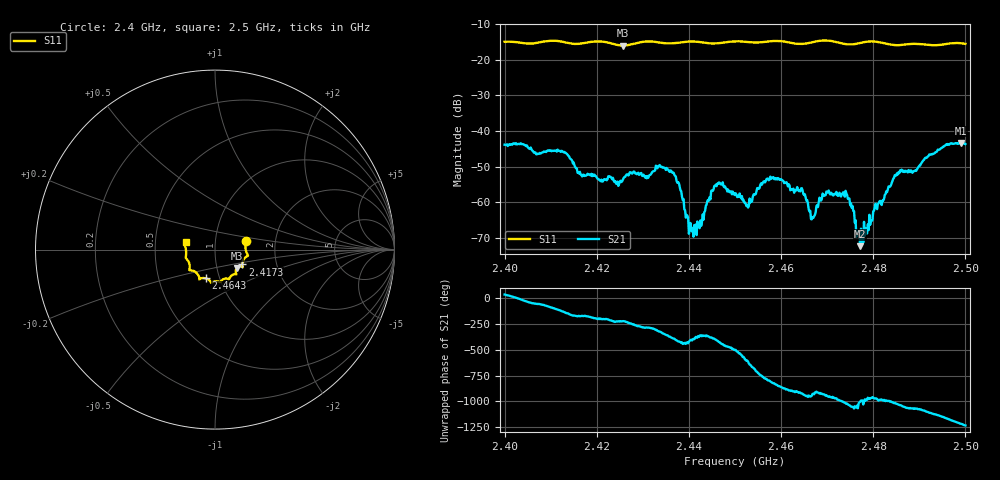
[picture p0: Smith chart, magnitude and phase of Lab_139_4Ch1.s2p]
# Hz S RI R 50
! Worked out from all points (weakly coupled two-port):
!   601 points, 2.4 GHz to 2.5 GHz, reference 50 ohm
!   highest |S21| = -43.38 dB at 2.499 GHz (marker M1); lowest = -72.4 dB at 2.4772 GHz (marker M2)
!   lowest |S11| = -15.9 dB at 2.4257 GHz (marker M3), VSWR 1.38, Z = 62.4 - j13.1 ohm
!   |S11| at or under -10 dB: start of sweep to end of sweep
!   S12 and S22 are empty: the file has one direction only
!   S11 on the Smith chart (normalised r, x): 2.4 GHz: 1.41, +0.14; 2.4173 GHz: 1.34, -0.23; 2.4643 GHz: 0.86, -0.28; 2.5 GHz: 0.72, +0.06
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2.4e9  0.1735 0.0493  0.0053 0.00362  0 0  0 0
2.412833e9  0.175 -0.0395  -0.00344 -0.00364  0 0  0 0
2.416667e9  0.153 -0.0751  -0.00238 -0.000293  0 0  0 0
2.417333e9  0.1524 -0.0824  -0.0023 -0.000322  0 0  0 0
2.425667e9  0.1224 -0.1023  -0.0015 0.00141  0 0  0 0
2.433333e9  0.1126 -0.1365  0.00243 0.00209  0 0  0 0
2.437167e9  0.0867 -0.1501  0.00159 -0.00162  0 0  0 0
2.4405e9  0.079 -0.1641  0.000291 -0.000272  0 0  0 0
2.442667e9  0.0714 -0.1623  0.000456 -7.62e-05  0 0  0 0
2.446e9  0.0472 -0.1648  0.00111 -0.00124  0 0  0 0
2.45e9  0.0297 -0.1808  -0.000993 -0.000766  0 0  0 0
2.452833e9  0.0185 -0.1777  -0.000219 0.000806  0 0  0 0
2.458167e9  -0.0193 -0.1836  -0.000454 -0.00217  0 0  0 0
2.464333e9  -0.0502 -0.1603  -0.00144 0.000579  0 0  0 0
2.466667e9  -0.0763 -0.1598  -0.000404 0.000405  0 0  0 0
2.4695e9  -0.0877 -0.1665  -0.000997 0.000748  0 0  0 0
2.473833e9  -0.0964 -0.1377  0.000481 0.00109  0 0  0 0
2.477167e9  -0.1283 -0.1165  5.55e-05 0.000232  0 0  0 0
2.483333e9  -0.1408 -0.0894  0.000139 0.00165  0 0  0 0
2.485667e9  -0.1478 -0.0657  0.0018 0.00181  0 0  0 0
2.499e9  -0.1682 0.036  -0.00495 -0.00463  0 0  0 0
2.5e9  -0.1633 0.0416  -0.00583 -0.00296  0 0  0 0
